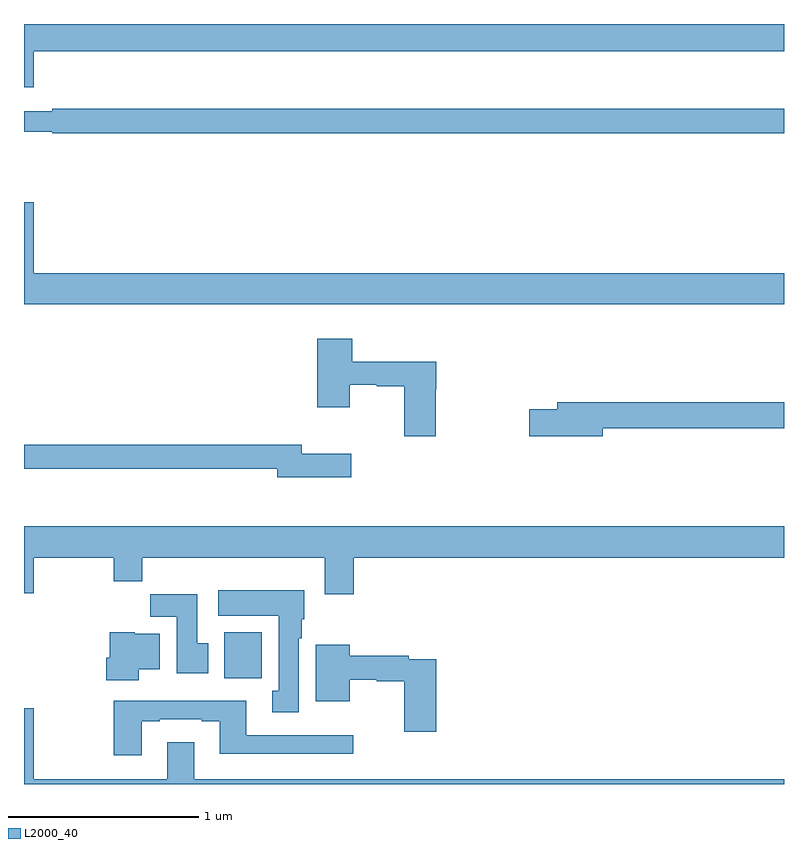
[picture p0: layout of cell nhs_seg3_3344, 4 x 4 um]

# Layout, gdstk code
import gdstk
lib = gdstk.Library(unit=1e-6, precision=1e-09)
def R(c, l, rs):  # rectangles x0, y0, x1, y1
    for r in rs: c.add(gdstk.rectangle(r[:2], r[2:], *l))
def P(c, l, *ps):  # polygons
    for p in ps: c.add(gdstk.Polygon(p, *l))
L2000_40 = (2000, 40)

nhs_seg3_3344 = lib.new_cell('nhs_seg3_3344')
R(nhs_seg3_3344, L2000_40, [(286.055,690.956,286.252,691.198)])
P(nhs_seg3_3344, L2000_40, [(285.052,694.256),(289,694.256),(289,694.4),(285,694.4),(285,694.068),(285.052,694.068)],
  [(289,693.955),(285.148,693.955),(285.148,693.942),(285,693.942),(285,693.834),(285.148,693.834),(285.148,693.826),(289,693.826)],
  [(289,693.088),(285.052,693.088),(285.052,693.463),(285,693.463),(285,692.924),(289,692.924)],
  [(287.166,692.477),(287.171,692.477),(287.171,692.623),(286.727,692.623),(286.727,692.743),(286.544,692.743),(286.544,692.382),(286.714,692.382),(286.714,692.502),(286.857,692.502),(286.857,692.494),(287,692.494),(287,692.229),(287.166,692.229)],
  [(288.046,692.272),(289,692.272),(289,692.408),(287.807,692.408),(287.807,692.372),(287.658,692.372),(287.658,692.23),(288.046,692.23)],
  [(286.723,692.137),(286.462,692.137),(286.462,692.186),(285,692.186),(285,692.058),(286.334,692.058),(286.334,692.015),(286.723,692.015)],
  [(286.736,691.592),(289,691.592),(289,691.756),(285,691.756),(285,691.404),(285.052,691.404),(285.052,691.592),(285.472,691.592),(285.472,691.468),(285.623,691.468),(285.623,691.592),(286.583,691.592),(286.583,691.398),(286.736,691.398)],
  [(286.447,691.166),(286.462,691.166),(286.462,691.266),(286.474,691.266),(286.474,691.42),(286.023,691.42),(286.023,691.286),(286.34,691.286),(286.34,690.89),(286.307,690.89),(286.307,690.777),(286.447,690.777)],
  [(285.97,691.14),(285.913,691.14),(285.913,691.399),(285.664,691.399),(285.664,691.28),(285.803,691.28),(285.803,690.984),(285.97,690.984)],
  [(285.604,691.004),(285.715,691.004),(285.715,691.192),(285.582,691.192),(285.582,691.198),(285.452,691.198),(285.452,691.065),(285.434,691.065),(285.434,690.947),(285.604,690.947)],
  [(287.171,691.056),(287.024,691.056),(287.024,691.076),(286.714,691.076),(286.714,691.132),(286.535,691.132),(286.535,690.836),(286.714,690.836),(286.714,690.948),(286.857,690.948),(286.857,690.94),(287,690.94),(287,690.675),(287.171,690.675)],
  [(285.619,690.729),(285.715,690.729),(285.715,690.741),(285.935,690.741),(285.935,690.729),(286.031,690.729),(286.031,690.56),(286.732,690.56),(286.732,690.657),(286.171,690.657),(286.171,690.838),(285.472,690.838),(285.472,690.552),(285.619,690.552)],
  [(289,690.424),(285.895,690.424),(285.895,690.619),(285.755,690.619),(285.755,690.424),(285.052,690.424),(285.052,690.799),(285,690.799),(285,690.4),(289,690.4)])

lib.write_gds('nhs_seg3_3344.gds')
